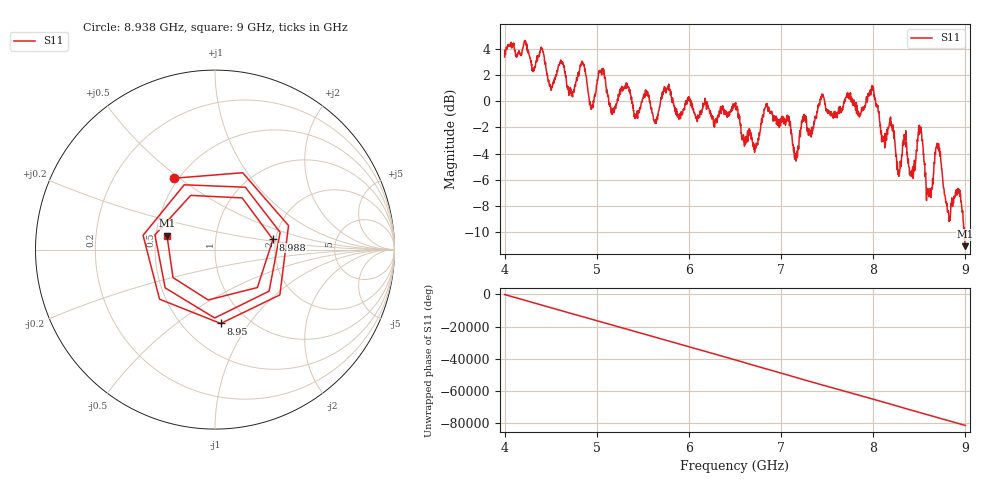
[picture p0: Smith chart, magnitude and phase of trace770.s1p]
! Created with skrf 1.8.0 (http://scikit-rf.org).
# Hz S RI R 50.0
!freq ReS11 ImS11
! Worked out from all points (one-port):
!   1601 points, 4 GHz to 9 GHz, reference 50 ohm
!   lowest |S11| = -11.1 dB at 9 GHz (marker M1), VSWR 1.77, Z = 28.6 + j4.82 ohm
!   |S11| at or under -10 dB: 8.991064 GHz to end of sweep
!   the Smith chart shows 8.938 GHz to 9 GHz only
!   S11 on the Smith chart (normalised r, x): 8.938 GHz: 0.47, +0.48; 8.95 GHz: 0.75, -0.74; 8.988 GHz: 1.93, +0.24; 9 GHz: 0.57, +0.10
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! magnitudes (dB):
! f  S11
! 4 GHz  3.4
! 4.403 GHz  4.1
! 4.506 GHz  0.8
! 4.625 GHz  2.9
! 4.722 GHz  0.7
! 4.85 GHz  2.9
! 4.944 GHz  -0.5
! 5.044 GHz  2.3
! 5.166 GHz  -0.8
! 5.25 GHz  0.9
! 5.875 GHz  -1.0
! 6.5 GHz  -0.2
! 6.603 GHz  -3.4
! 6.841 GHz  -0.2
! 7.125 GHz  -3.3
! 7.75 GHz  0.2
! 7.988 GHz  1.2
! 8.278 GHz  -5.7
! 8.375 GHz  -4.5
! 8.438 GHz  -5.2
! 8.509 GHz  -2.3
! 8.603 GHz  -7.3
! 8.694 GHz  -3.2
! 8.812 GHz  -8.4
! 8.938 GHz  -6.8
! 8.95 GHz  -7.7
! 8.988 GHz  -9.7
! 9 GHz  -11.1
